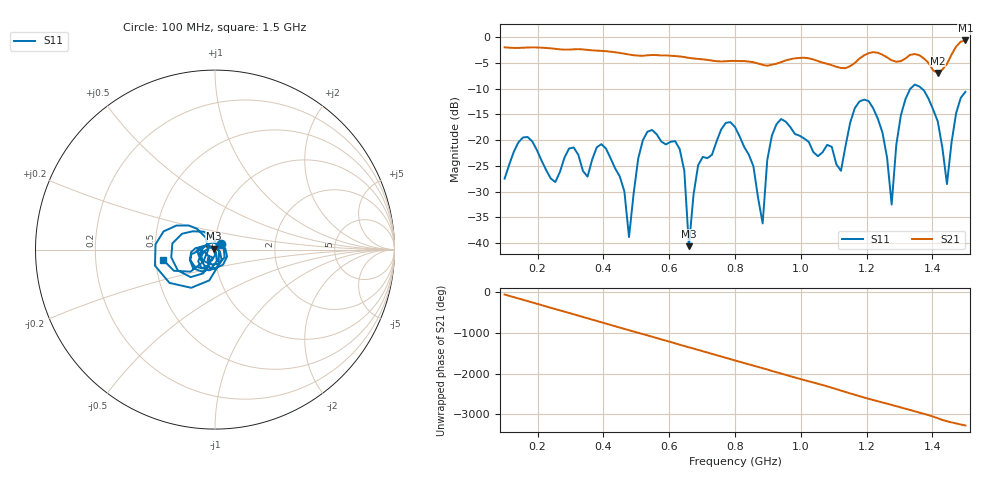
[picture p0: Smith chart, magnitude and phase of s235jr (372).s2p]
! NanoVNA-App
! Date: 2025-09-25 15:07:03
! Start: 100MHz Stop: 1,5GHz Points: 101
! S-Parameter data: F S11 S21 S12 S22
# Hz S RI R 50
!  Frequency  S11_Real  S11_Imag  S21_Real  S21_Imag  S12_Real  S12_Imag  S22_Real  S22_Imag
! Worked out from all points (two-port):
!   101 points, 100 MHz to 1.5 GHz, reference 50 ohm
!   highest |S21| = -0.63 dB at 1.5 GHz (marker M1); lowest = -7.0 dB at 1.416 GHz (marker M2)
!   |S21| within 3 dB of the highest: start of sweep to 610 MHz; 1.19 GHz to 1.254 GHz (64.45 MHz wide, 5.27 % of centre) (the widest 2 of 4)
!   lowest |S11| = -40.6 dB at 660 MHz (marker M3), VSWR 1.02, Z = 49.2 + j0.543 ohm
!   |S11| at or under -10 dB: start of sweep to 1.333 GHz; 1.368 GHz to end of sweep
!   S12 and S22 are empty: the file has one direction only
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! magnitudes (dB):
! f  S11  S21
! 100 MHz  -27.5  -2.0
! 156 MHz  -19.5  -2.0
! 338 MHz  -26.0  -2.4
! 408 MHz  -21.6  -2.7
! 478 MHz  -38.8  -3.4
! 520 MHz  -20.0  -3.6
! 576 MHz  -20.3  -3.5
! 632 MHz  -21.7  -3.7
! 660 MHz  -40.6  -4.0
! 688 MHz  -24.9  -4.2
! 800 MHz  -17.5  -4.6
! 884 MHz  -36.2  -5.4
! 926 MHz  -16.9  -5.2
! 1.038 GHz  -22.3  -4.3
! 1.122 GHz  -25.9  -6.0
! 1.206 GHz  -12.4  -3.1
! 1.276 GHz  -32.5  -4.5
! 1.304 GHz  -15.2  -4.6
! 1.332 GHz  -10.1  -3.4
! 1.416 GHz  -16.3  -7.0
! 1.444 GHz  -28.5  -5.2
! 1.5 GHz  -10.6  -0.6
